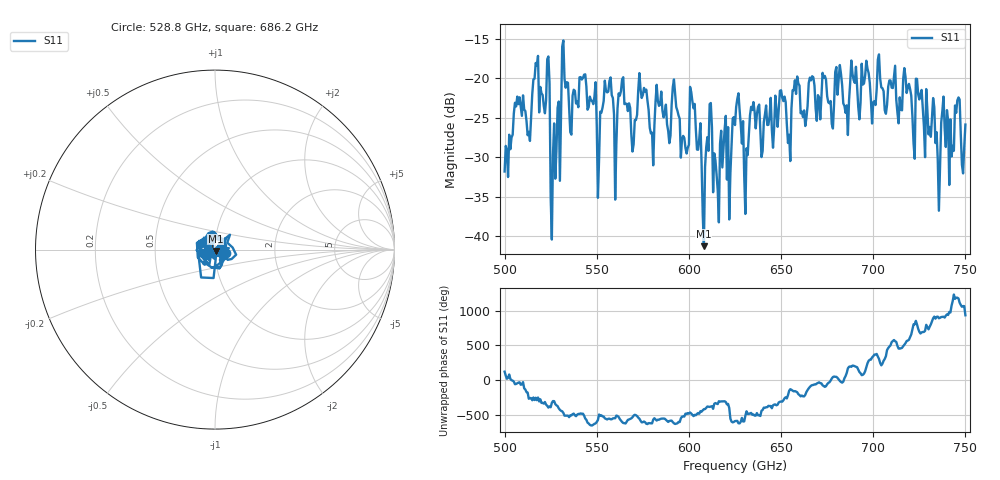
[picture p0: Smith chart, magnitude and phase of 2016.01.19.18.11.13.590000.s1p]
!Created with skrf (http://scikit-rf.org).
# GHz S RI R 50.0
!freq ReS11 ImS11
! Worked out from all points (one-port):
!   401 points, 500 GHz to 750 GHz, reference 50 ohm
!   lowest |S11| = -41.3 dB at 608.1 GHz (marker M1), VSWR 1.02, Z = 50.4 - j0.769 ohm
!   |S11| at or under -10 dB: start of sweep to end of sweep
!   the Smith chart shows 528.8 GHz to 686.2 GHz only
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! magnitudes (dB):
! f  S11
! 500 GHz  -31.8
! 506.9 GHz  -22.3
! 513.1 GHz  -26.8
! 516.9 GHz  -18.1
! 523.1 GHz  -17.6
! 526.2 GHz  -29.7
! 531.2 GHz  -16.0
! 542.5 GHz  -20.0
! 551.2 GHz  -30.3
! 562.5 GHz  -22.2
! 570 GHz  -28.4
! 573.8 GHz  -21.4
! 580 GHz  -26.9
! 593.8 GHz  -24.1
! 598.8 GHz  -29.5
! 601.9 GHz  -22.9
! 608.1 GHz  -41.3
! 611.2 GHz  -23.3
! 615 GHz  -32.2
! 625 GHz  -25.9
! 631.2 GHz  -28.9
! 634.4 GHz  -24.0
! 656.2 GHz  -21.5
! 687.5 GHz  -20.5
! 718.8 GHz  -21.2
! 735 GHz  -30.3
! 745.6 GHz  -22.8
! 750 GHz  -25.9
